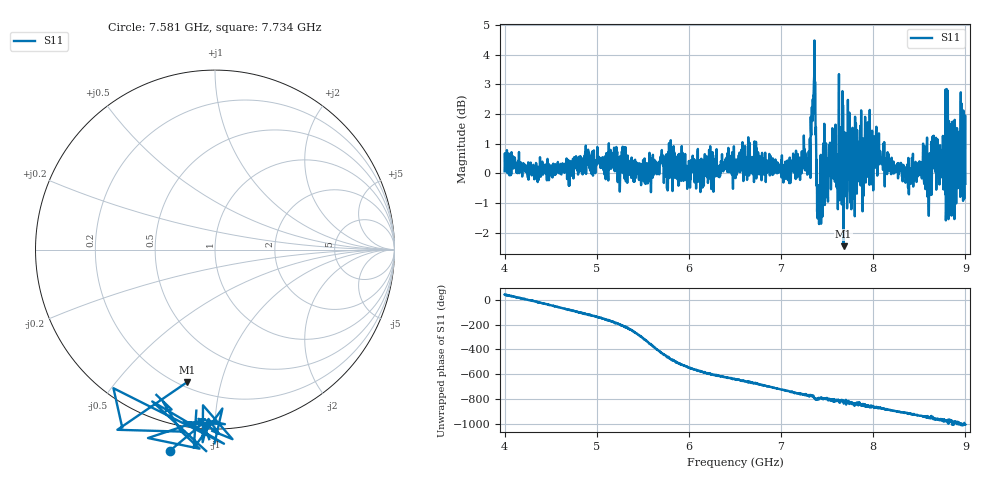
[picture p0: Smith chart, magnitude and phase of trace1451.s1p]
! Created with skrf 1.8.0 (http://scikit-rf.org).
# Hz S RI R 50.0
!freq ReS11 ImS11
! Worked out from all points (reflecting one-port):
!   1601 points, 4 GHz to 9 GHz, reference 50 ohm
!   lowest |S11| = -2.5 dB at 7.678 GHz (marker M1), VSWR 7.12, Z = 11.5 - j39.3 ohm
!   phase of S11 starts at 44 deg and turns -1051 deg over the sweep
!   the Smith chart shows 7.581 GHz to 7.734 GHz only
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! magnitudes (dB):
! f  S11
! 4 GHz  0.1
! 4.625 GHz  0.2
! 5.197 GHz  0.1
! 5.25 GHz  -0.6
! 5.875 GHz  -0.2
! 6.5 GHz  0.2
! 7.125 GHz  0.4
! 7.294 GHz  0.2
! 7.347 GHz  2.1
! 7.369 GHz  3.1
! 7.397 GHz  -1.5
! 7.412 GHz  -1.7
! 7.478 GHz  0.9
! 7.65 GHz  1.6
! 7.678 GHz  -2.5
! 7.688 GHz  1.4
! 7.703 GHz  0.7
! 7.75 GHz  1.2
! 7.775 GHz  1.5
! 7.928 GHz  0.3
! 8.375 GHz  -0.1
! 8.559 GHz  0.3
! 8.612 GHz  0.7
! 8.656 GHz  1.3
! 8.784 GHz  2.8
! 8.841 GHz  1.7
! 8.959 GHz  2.4
! 9 GHz  -0.4
